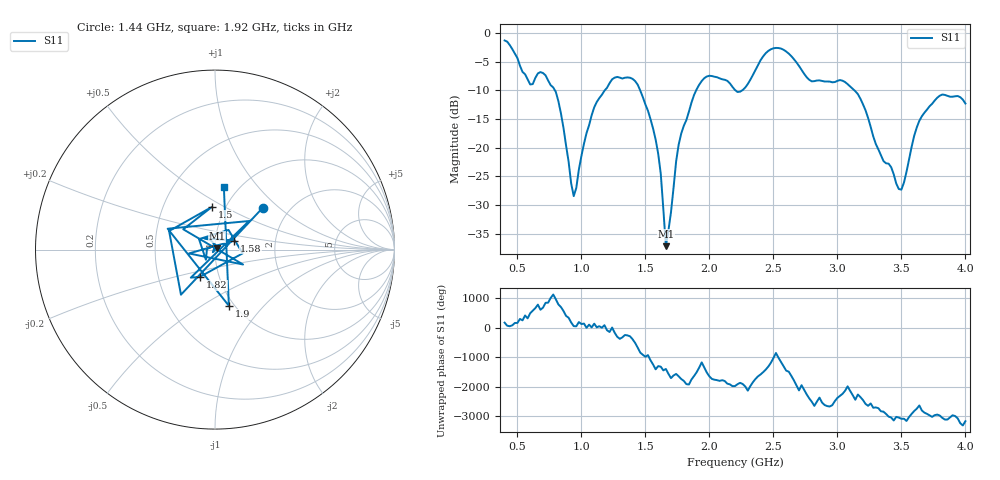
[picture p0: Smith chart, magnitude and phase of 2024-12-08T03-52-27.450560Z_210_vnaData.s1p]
!Created with skrf (http://scikit-rf.org).
# Hz S RI R 50.0
!freq ReS11 ImS11
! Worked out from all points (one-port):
!   181 points, 400 MHz to 4 GHz, reference 50 ohm
!   lowest |S11| = -37.2 dB at 1.66 GHz (marker M1), VSWR 1.03, Z = 51.1 + j0.846 ohm
!   |S11| at or under -10 dB: 793.1 MHz to 1.182 GHz (389.2 MHz wide, 39.4 % of centre); 1.459 GHz to 1.897 GHz (437.3 MHz wide, 26.1 % of centre); 3.133 GHz to end of sweep (the widest 3 of 4)
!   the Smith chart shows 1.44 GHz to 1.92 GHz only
!   S11 on the Smith chart (normalised r, x): 1.44 GHz: 1.48, +0.79; 1.5 GHz: 0.86, +0.44; 1.58 GHz: 1.23, +0.13; 1.82 GHz: 0.81, -0.25; 1.9 GHz: 0.94, -0.66; 1.92 GHz: 0.85, +0.68
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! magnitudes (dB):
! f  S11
! 400 MHz  -1.3
! 600 MHz  -9.0
! 720 MHz  -7.4
! 800 MHz  -10.3
! 860 MHz  -16.5
! 940 MHz  -28.4
! 1.1 GHz  -13.0
! 1.3 GHz  -7.8
! 1.44 GHz  -9.0
! 1.5 GHz  -12.5
! 1.58 GHz  -18.6
! 1.62 GHz  -24.5
! 1.66 GHz  -37.2
! 1.76 GHz  -19.5
! 1.82 GHz  -15.2
! 1.9 GHz  -9.8
! 1.92 GHz  -9.0
! 2.02 GHz  -7.5
! 2.2 GHz  -9.9
! 2.48 GHz  -2.8
! 2.66 GHz  -4.6
! 2.8 GHz  -8.4
! 3.1 GHz  -9.3
! 3.48 GHz  -27.2
! 3.56 GHz  -22.0
! 3.64 GHz  -15.3
! 3.78 GHz  -11.3
! 4 GHz  -12.3
